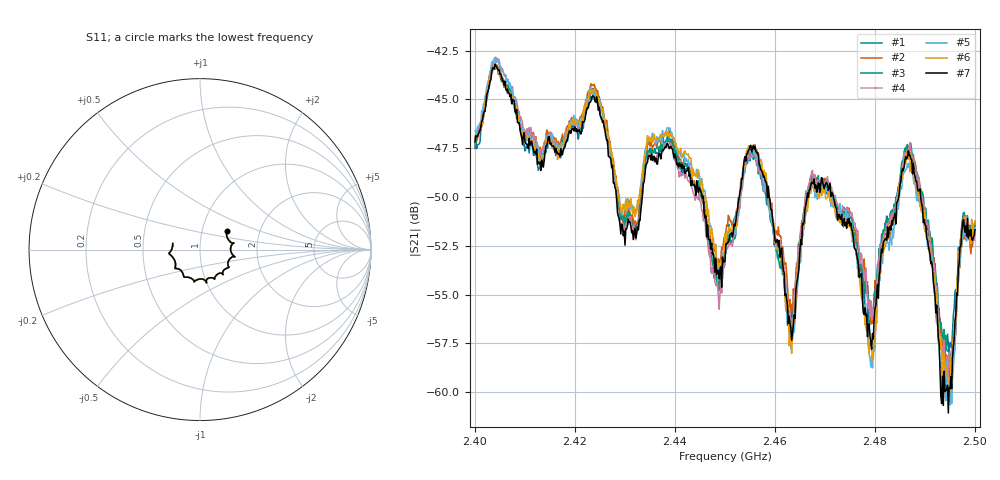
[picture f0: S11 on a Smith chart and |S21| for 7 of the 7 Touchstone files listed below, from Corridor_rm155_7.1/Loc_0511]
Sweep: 2.4 GHz to 2.5 GHz
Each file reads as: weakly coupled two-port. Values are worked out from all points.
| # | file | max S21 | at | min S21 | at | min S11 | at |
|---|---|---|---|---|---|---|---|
| 1 | Lab_139_1Ch1.s2p | -43.22 dB | 2.4043 GHz | -57.9 dB | 2.4948 GHz | -15.9 dB | 2.4898 GHz |
| 2 | Lab_139_2Ch1.s2p | -43.22 dB | 2.4038 GHz | -59.8 dB | 2.4952 GHz | -15.9 dB | 2.4898 GHz |
| 3 | Lab_139_3Ch1.s2p | -43.13 dB | 2.404 GHz | -58.7 dB | 2.495 GHz | -15.9 dB | 2.4898 GHz |
| 4 | Lab_139_4Ch1.s2p | -42.84 dB | 2.4042 GHz | -59.5 dB | 2.494 GHz | -15.9 dB | 2.4898 GHz |
| 5 | Lab_139_6Ch1.s2p | -42.91 dB | 2.404 GHz | -60.7 dB | 2.495 GHz | -15.9 dB | 2.4898 GHz |
| 6 | Lab_139_7Ch1.s2p | -43.18 dB | 2.4038 GHz | -60.0 dB | 2.495 GHz | -15.9 dB | 2.49 GHz |
| 7 | Lab_139_10Ch1.s2p | -43.21 dB | 2.404 GHz | -61.1 dB | 2.4947 GHz | -15.9 dB | 2.4898 GHz |
